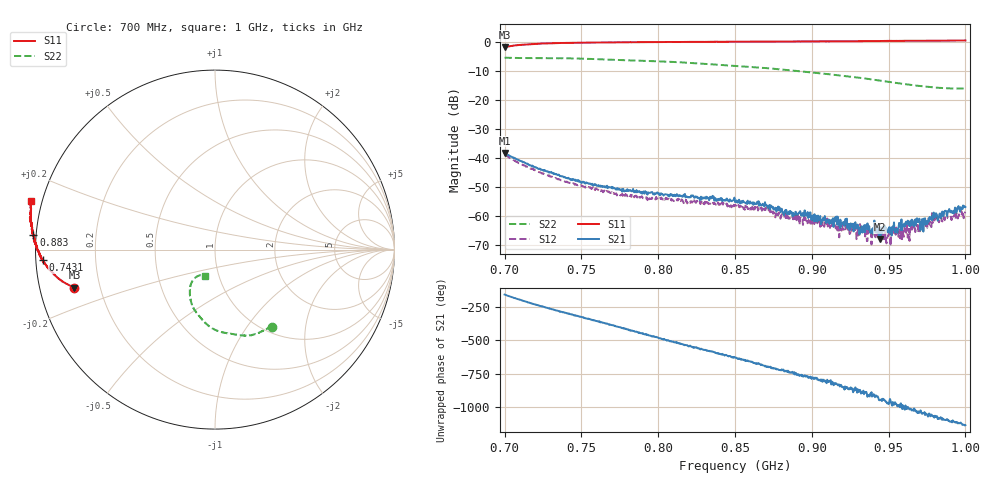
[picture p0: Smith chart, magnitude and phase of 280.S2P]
! C:\Users\rflab\Downloads\Lab5_KD_ZW\Q2\728 MHz\280.S2P
! Touchstone 1.1 file saved by VNA.EXE V1.65 (www.ke5fx.com/gpib/readme.htm)
! 11/18/2024 9:28:14 PM
!  Source: HEWLETT PACKARD,8753D,0,6.14
!  Min freq: 7.000000E+008 Hz
!  Max freq: 1.000000E+009 Hz
!  Points: 801
!  Params: S11 S21 S12 S22
# GHZ S MA R 50
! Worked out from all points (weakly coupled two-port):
!   801 points, 700 MHz to 1 GHz, reference 50 ohm
!   highest |S21| = -38.26 dB at 700 MHz (marker M1); lowest = -67.9 dB at 944.5 MHz (marker M2)
!   lowest |S11| = -1.8 dB at 700 MHz (marker M3), VSWR 9.60, Z = 5.3 - j6.58 ohm
!   |S11| at or under -10 dB: nowhere
!   |S22| runs from -16.1 to -5.5 dB; largest |S21 - S12| = 0.0039
!   S11 on the Smith chart (normalised r, x): 700 MHz: 0.11, -0.13; 743.1 MHz: 0.02, -0.03; 883 MHz: -0.01, +0.04; 1 GHz: -0.03, +0.13
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0.7  0.8112 -164.8  0.01222 -156.6  0.01162 -175.2  0.5335 -53.7
0.71875  0.9214 -172.4  0.00722 132.7  0.00633 113.6  0.5248 -58.3
0.743125  0.9616 -176.5  0.004346 55.7  0.003763 37.5  0.5201 -65.7
0.75025  0.9701 -177.2  0.003746 35.3  0.003376 17.3  0.5139 -68.3
0.774625  0.9816 -179.3  0.002887 -40.9  0.002374 -61.3  0.4869 -76.3
0.800125  0.9916 179.4  0.002404 -121.8  0.002033 -137.4  0.4623 -84.8
0.85  1.01 176.9  0.001758 93.3  0.001564 80.7  0.3853 -102.4
0.870625  1.01 176.3  0.001556 20.7  0.001323 12.3  0.3533 -109.2
0.883  1.015 175.5  0.001198 -11.1  0.000931 -23.8  0.3294 -113.2
0.90025  1.019 174.7  0.000996 -55.9  0.000739 -69.7  0.2963 -117.9
0.916  1.022 174.0  0.000987 -102.6  0.000724 -137.0  0.2689 -121.6
0.93175  1.029 172.7  0.000593 -162.3  0.000647 -174.4  0.2402 -124.4
0.935125  1.031 172.6  0.000669 -169.8  0.000481 161.7  0.2337 -124.9
0.9445  1.035 171.8  0.000401 134.4  0.000471 125.9  0.2159 -125.8
0.950125  1.042 171.4  0.000576 103.3  0.000488 98.1  0.2056 -125.7
0.9535  1.041 171.2  0.000785 98.4  0.000583 79.1  0.1995 -125.5
0.95875  1.041 170.7  0.000569 67.6  0.000404 64.5  0.1906 -125.0
0.9655  1.045 170.2  0.000859 61.8  0.000605 40.0  0.1804 -123.8
0.9685  1.044 170.0  0.000924 48.7  0.000692 22.4  0.1763 -123.3
0.974125  1.047 169.2  0.000718 34.3  0.00068 14.2  0.17 -121.6
0.980125  1.049 168.8  0.000948 16.9  0.000794 -7.7  0.164 -119.6
1  1.058 165.3  0.001443 -54.1  0.001191 -66.7  0.1584 -111.0
